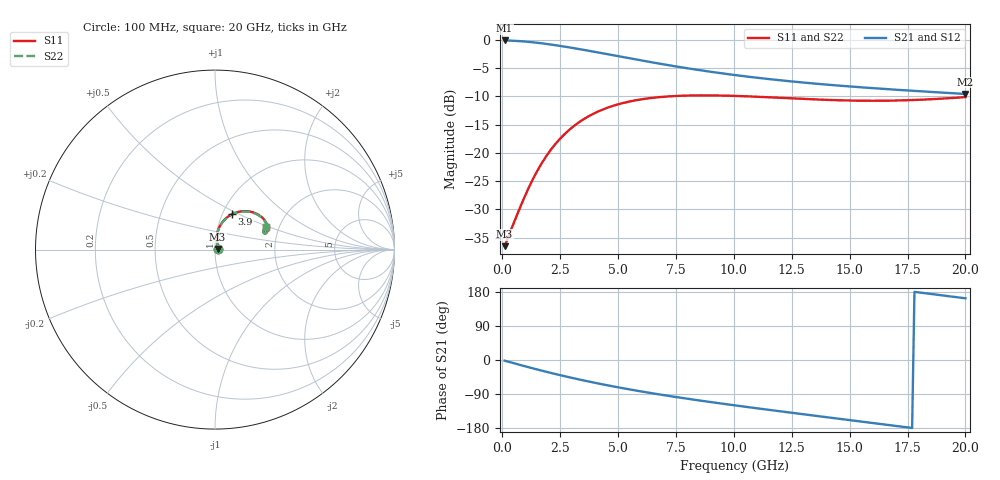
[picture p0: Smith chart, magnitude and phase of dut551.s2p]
! Touchstone file exported from HFSS 2024.1.0
!  File:  C:/UserFiles/LocalFiles/RDL_TSV_Batchsim/temp_RDL_TSV_551_1779749757.aedt
!  Generated:  07:11:26 AM May 26, 2026
!  Design:  RDL_TSV
!  Project:  temp_RDL_TSV_551_1779749757
!  Setup:  Setup1
!  Solution:  Sweep
! Variables:
!  dtsv = 6.19um
!  hbump = 3um
!  htsv = 96.78um
!  ldown = 412.47um
!  lrdl = 339.01um
!  p = 40
!  p1 = 59.57um
!  rhole = 10um
!  subl = 2593.45um
!  t = 450um
!  tdown = 3.54um
!  trdl = 4.05um
!  viad = 10um
!  wdown = 15.19um
!  wrdl = 28.87um
!  xbump = 18um
# GHz S MA R 50.000000
! Terminal data exported
! Port[1] = TM1_1_T1
! Port[2] = TM1_4_T1
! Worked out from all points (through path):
!   200 points, 100 MHz to 20 GHz, reference 50 ohm
!   highest |S21| = -0.13 dB at 100 MHz (marker M1); lowest = -9.6 dB at 20 GHz (marker M2)
!   group delay of S21, straight-line fit = 25.6 ps
!   lowest |S11| = -36.5 dB at 100 MHz (marker M3), VSWR 1.03, Z = 51.4 + j0.437 ohm
!   |S11| at or under -10 dB: start of sweep to 7.287 GHz; 10.48 GHz to end of sweep
!   |S22| runs from -36.5 to -9.9 dB; largest |S21 - S12| = 9.7e-15
!   S11 on the Smith chart (normalised r, x): 100 MHz: 1.03, +0.01; 3.9 GHz: 1.11, +0.46; 20 GHz: 1.71, +0.48
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0.1  0.01492 16.6  0.9854 -1.7  0.9854 -1.7  0.01492 16.6
! Gamma 0 0 0 0
! Port Impedance 50 0 50 0
0.5  0.02407 53.3  0.9788 -8.6  0.9788 -8.6  0.02409 53.3
1  0.04234 74.3  0.9634 -16.9  0.9634 -16.9  0.04232 74.1
1.4  0.06278 80.7  0.9458 -23.3  0.9458 -23.3  0.06268 80.5
1.7  0.08065 82.0  0.9301 -28.1  0.9301 -28.1  0.08047 81.9
2.1  0.1066 81.1  0.9069 -34.2  0.9069 -34.2  0.1063 80.9
2.5  0.1334 78.3  0.8817 -40.0  0.8817 -40.0  0.133 78.2
3  0.1665 73.7  0.8486 -47.1  0.8486 -47.1  0.1659 73.5
3.5  0.1973 68.4  0.8148 -53.8  0.8148 -53.8  0.1965 68.2
3.9  0.2196 64.1  0.7877 -58.9  0.7877 -58.9  0.2187 64.0
4.5  0.2485 57.9  0.7478 -66.3  0.7478 -66.3  0.2473 57.7
5.2  0.2751 51.2  0.7033 -74.4  0.7033 -74.4  0.2737 51.0
6  0.2968 44.3  0.6562 -83.0  0.6562 -83.0  0.2953 44.1
6.8  0.3108 38.4  0.6138 -91.0  0.6138 -91.0  0.3092 38.2
8.3  0.3216 29.6  0.5468 -104.9  0.5468 -104.9  0.3198 29.4
10.1  0.3183 22.6  0.4854 -120.2  0.4854 -120.2  0.3163 22.4
11.7  0.3084 19.1  0.4444 -133.0  0.4444 -133.0  0.3064 19.0
13.4  0.2971 17.8  0.4109 -146.3  0.4109 -146.3  0.295 17.7
15  0.2899 18.5  0.3861 -158.6  0.3861 -158.6  0.2878 18.4
16.7  0.289 20.4  0.3646 -171.7  0.3646 -171.7  0.287 20.3
18.3  0.296 22.5  0.3475 176.0  0.3475 176.0  0.294 22.4
20  0.3108 24.0  0.3313 162.8  0.3313 162.8  0.3087 24.0
